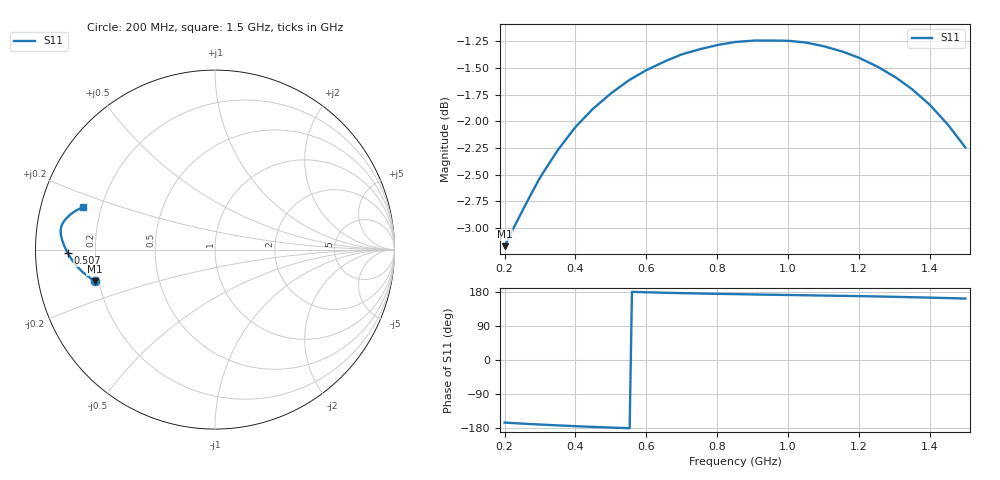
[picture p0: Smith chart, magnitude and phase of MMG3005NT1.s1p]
#Hz S ri R 50
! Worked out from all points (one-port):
!   200 points, 200 MHz to 1.5 GHz, reference 50 ohm
!   lowest |S11| = -3.2 dB at 200 MHz (marker M1), VSWR 5.54, Z = 9.17 - j6.29 ohm
!   |S11| at or under -10 dB: nowhere
!   S11 on the Smith chart (normalised r, x): 200 MHz: 0.18, -0.13; 507 MHz: 0.10, -0.01; 1.5 GHz: 0.13, +0.15
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2e8  -0.6711 -0.1776
2.45729e8  -0.7024 -0.1532
2.9799e8  -0.7356 -0.1272
3.43719e8  -0.7602 -0.1028
3.63317e8  -0.7696 -0.0924
4.02513e8  -0.787 -0.0717
4.48241e8  -0.8033 -0.0486
5.07035e8  -0.8199 -0.0208
5.26633e8  -0.8245 -0.0118
5.52764e8  -0.8306 -0.000135
5.98492e8  -0.8389 0.0185
6.50754e8  -0.8463 0.0377
6.8995e8  -0.8509 0.0507
7.55276e8  -0.856 0.0696
8.01005e8  -0.8585 0.0819
8.53266e8  -0.86 0.0947
9.05528e8  -0.8599 0.107
1.01658e9  -0.8559 0.1302
1.04925e9  -0.8538 0.137
1.10151e9  -0.8484 0.1475
1.14724e9  -0.8426 0.1562
1.1799e9  -0.8373 0.1631
1.25176e9  -0.8232 0.1793
1.29749e9  -0.8121 0.1902
1.34322e9  -0.7987 0.2012
1.40201e9  -0.7786 0.215
1.44774e9  -0.7597 0.2252
1.5e9  -0.7352 0.2361
